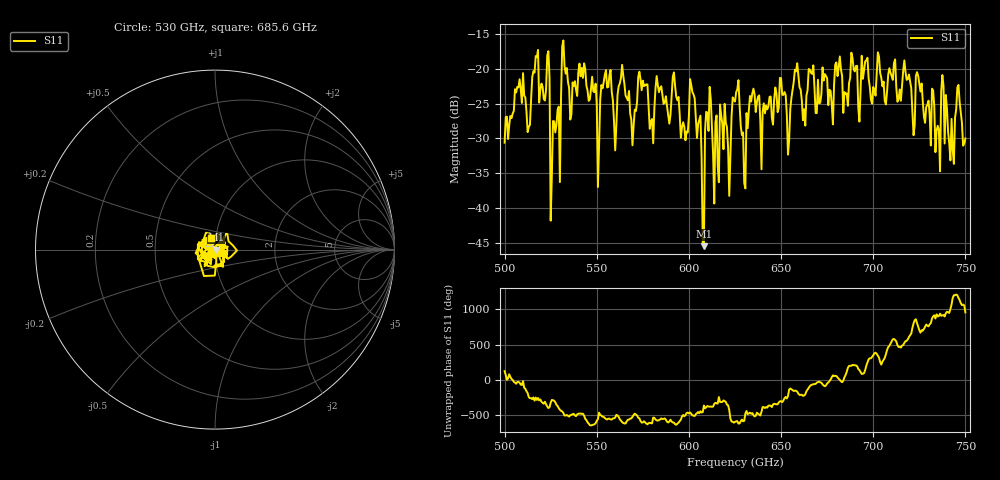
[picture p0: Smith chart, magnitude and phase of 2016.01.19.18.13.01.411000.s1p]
!Created with skrf (http://scikit-rf.org).
# GHz S RI R 50.0
!freq ReS11 ImS11
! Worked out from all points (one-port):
!   401 points, 500 GHz to 750 GHz, reference 50 ohm
!   lowest |S11| = -45.5 dB at 608.1 GHz (marker M1), VSWR 1.01, Z = 50.5 - j0.0681 ohm
!   |S11| at or under -10 dB: start of sweep to end of sweep
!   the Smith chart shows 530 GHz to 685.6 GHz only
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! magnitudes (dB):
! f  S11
! 500 GHz  -30.6
! 506.9 GHz  -22.6
! 513.1 GHz  -28.3
! 516.9 GHz  -18.2
! 523.1 GHz  -18.1
! 526.2 GHz  -27.5
! 531.2 GHz  -16.8
! 542.5 GHz  -21.3
! 551.2 GHz  -31.1
! 553.8 GHz  -21.9
! 560 GHz  -31.7
! 562.5 GHz  -22.1
! 569.4 GHz  -31.0
! 573.8 GHz  -21.5
! 579.4 GHz  -27.6
! 593.8 GHz  -24.5
! 598.1 GHz  -30.3
! 601.9 GHz  -23.3
! 608.1 GHz  -45.5
! 610.6 GHz  -28.9
! 615 GHz  -26.7
! 625 GHz  -24.7
! 629.4 GHz  -29.1
! 634.4 GHz  -23.6
! 656.2 GHz  -23.0
! 687.5 GHz  -21.3
! 718.8 GHz  -21.5
! 750 GHz  -30.0
